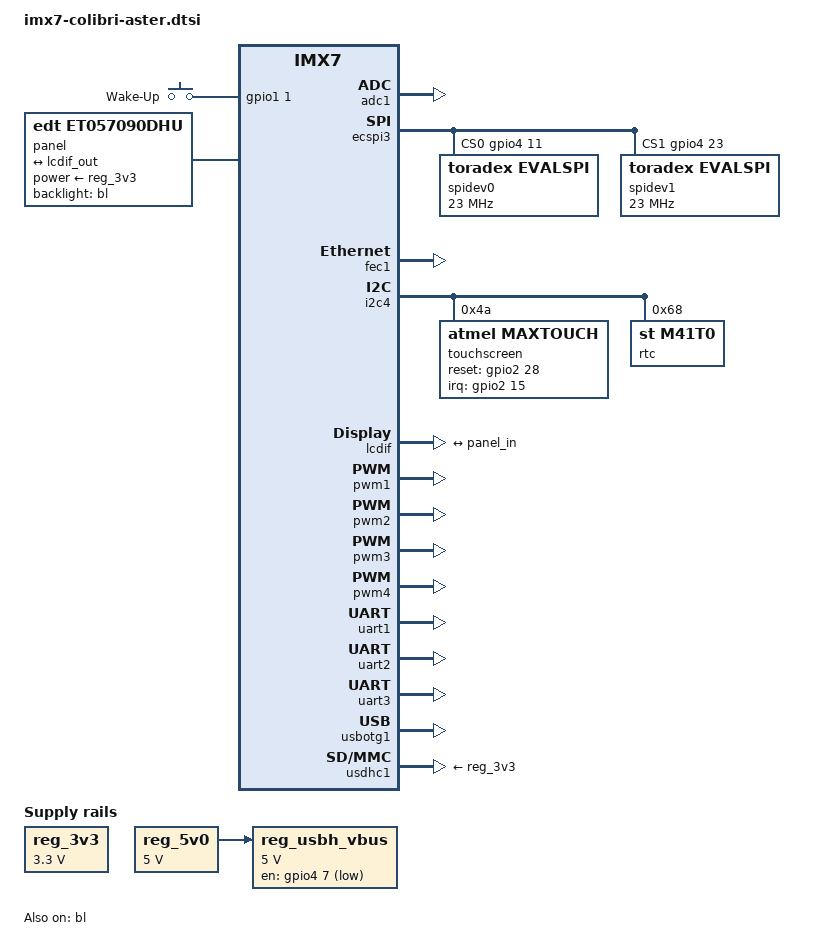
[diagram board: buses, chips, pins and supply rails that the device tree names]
// SPDX-License-Identifier: (GPL-2.0 OR X11)
/*
 * Copyright 2017-2020 Toradex AG
 *
 */


#include <dt-bindings/input/input.h>
#include <dt-bindings/pwm/pwm.h>

/ {
	chosen {
		stdout-path = "serial0:115200n8";
	};

	gpio-keys {
		compatible = "gpio-keys";
		pinctrl-names = "default";
		pinctrl-0 = <&pinctrl_gpiokeys>;

		power {
			label = "Wake-Up";
			gpios = <&gpio1 1 GPIO_ACTIVE_HIGH>;
			linux,code = <KEY_WAKEUP>;
			debounce-interval = <10>;
			wakeup-source;
		};
	};

	panel: panel {
		compatible = "edt,et057090dhu";
		backlight = <&bl>;
		power-supply = <&reg_3v3>;

		port {
			panel_in: endpoint {
				remote-endpoint = <&lcdif_out>;
			};
		};
	};

	reg_3v3: regulator-3v3 {
		compatible = "regulator-fixed";
		regulator-name = "3.3V";
		regulator-min-microvolt = <3300000>;
		regulator-max-microvolt = <3300000>;
	};

	reg_5v0: regulator-5v0 {
		compatible = "regulator-fixed";
		regulator-name = "5V";
		regulator-min-microvolt = <5000000>;
		regulator-max-microvolt = <5000000>;
	};

	reg_usbh_vbus: regulator-usbh-vbus {
		compatible = "regulator-fixed";
		pinctrl-names = "default";
		pinctrl-0 = <&pinctrl_usbh_reg>;
		regulator-name = "VCC_USB[1-4]";
		regulator-min-microvolt = <5000000>;
		regulator-max-microvolt = <5000000>;
		gpio = <&gpio4 7 GPIO_ACTIVE_LOW>;
		vin-supply = <&reg_5v0>;
	};
};

&bl {
	brightness-levels = <0 4 8 16 32 64 128 255>;
	default-brightness-level = <6>;
	power-supply = <&reg_3v3>;

	status = "okay";
};

&adc1 {
	status = "okay";
};

/*
 * ADC2 is not available on the Aster board and
 * conflicts with AD7879 resistive touchscreen.
 */
&adc2 {
	status = "disabled";
};

&ecspi3 {
	cs-gpios = <
		&gpio4 11 GPIO_ACTIVE_HIGH
		&gpio4 23 GPIO_ACTIVE_HIGH
	>;
	status = "okay";

	spidev0: spidev@0 {
		compatible = "toradex,evalspi";
		reg = <0>;
		spi-max-frequency = <23000000>;
	};

	spidev1: spidev@1 {
		compatible = "toradex,evalspi";
		reg = <1>;
		spi-max-frequency = <23000000>;
	};
};

&fec1 {
	status = "okay";
};

&i2c4 {
	status = "okay";

	/* Microchip/Atmel maxtouch controller */
	touchscreen@4a {
		compatible = "atmel,maxtouch";
		pinctrl-names = "default";
		pinctrl-0 = <&pinctrl_gpiotouch>;
		reg = <0x4a>;
		interrupt-parent = <&gpio2>;
		interrupts = <15 IRQ_TYPE_EDGE_FALLING>;	/* SODIMM 107 */
		reset-gpios = <&gpio2 28 GPIO_ACTIVE_HIGH>;	/* SODIMM 106 */
		status = "okay";
	};

	/* M41T0M6 real time clock on carrier board */
	rtc: m41t0m6@68 {
		compatible = "st,m41t0";
		reg = <0x68>;
	};
};

&lcdif {
	status = "okay";

	port {
		lcdif_out: endpoint {
			remote-endpoint = <&panel_in>;
		};
	};
};

&pwm1 {
	status = "okay";
};

&pwm2 {
	status = "okay";
};

&pwm3 {
	status = "okay";
};

&pwm4 {
	status = "okay";
};

&uart1 {
	status = "okay";
};

&uart2 {
	status = "okay";
};

&uart3 {
	status = "okay";
};

&usbotg1 {
	status = "okay";
};

&usdhc1 {
	keep-power-in-suspend;
	no-1-8-v;
	wakeup-source;
	vmmc-supply = <&reg_3v3>;
	status = "okay";
};

&iomuxc {
	pinctrl_gpiotouch: touchgpios {
		fsl,pins = <
			MX7D_PAD_EPDC_DATA15__GPIO2_IO15        0x74
			MX7D_PAD_EPDC_BDR0__GPIO2_IO28          0x14
		>;
	};
};
